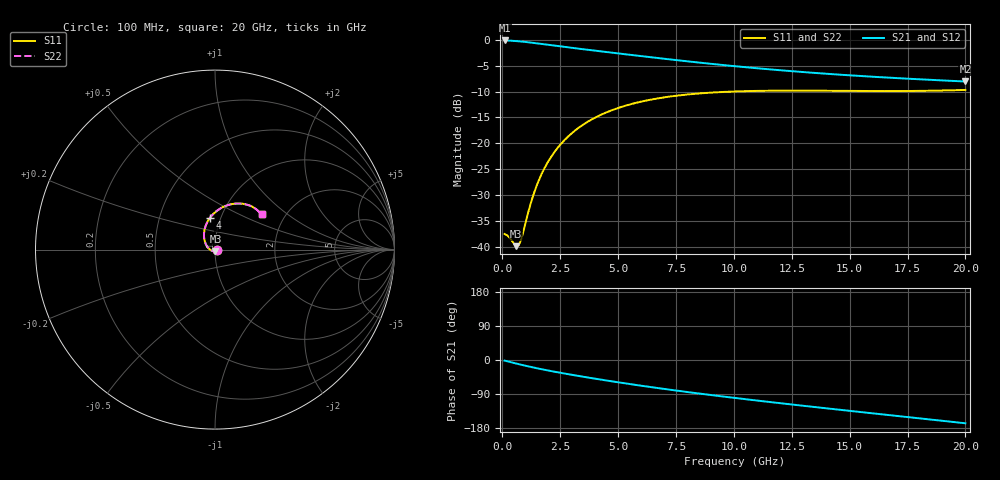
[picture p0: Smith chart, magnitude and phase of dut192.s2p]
! Touchstone file exported from HFSS 2024.1.0
!  File:  C:/UserFiles/LocalFiles/RDL_TSV_Batchsim/temp_RDL_TSV_192_1779441681.aedt
!  Generated:  05:36:03 PM May 22, 2026
!  Design:  RDL_TSV
!  Project:  temp_RDL_TSV_192_1779441681
!  Setup:  Setup1
!  Solution:  Sweep
! Variables:
!  dtsv = 14.02um
!  hbump = 3um
!  htsv = 69.97um
!  ldown = 147.83um
!  lrdl = 420.42um
!  p = 40
!  p1 = 47.94um
!  rhole = 10um
!  subl = 2125.17um
!  t = 450um
!  tdown = 4.05um
!  trdl = 3.53um
!  viad = 10um
!  wdown = 21.66um
!  wrdl = 14.99um
!  xbump = 18um
# GHz S MA R 50.000000
! Terminal data exported
! Port[1] = TM1_1_T1
! Port[2] = TM1_4_T1
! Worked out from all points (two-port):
!   200 points, 100 MHz to 20 GHz, reference 50 ohm
!   highest |S21| = -0.12 dB at 100 MHz (marker M1); lowest = -8.1 dB at 20 GHz (marker M2)
!   |S21| within 3 dB of the highest: start of sweep to 5.946 GHz
!   lowest |S11| = -39.9 dB at 600 MHz (marker M3), VSWR 1.02, Z = 50.2 - j0.986 ohm
!   |S11| at or under -10 dB: start of sweep to 9.937 GHz
!   |S22| runs from -39.9 to -9.7 dB; largest |S21 - S12| = 1.5e-14
!   S11 on the Smith chart (normalised r, x): 100 MHz: 1.03, -0.00; 4 GHz: 0.89, +0.32; 20 GHz: 1.53, +0.68
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0.1  0.01329 -8.0  0.9861 -1.6  0.9861 -1.6  0.01329 -8.0
! Gamma 0 0 0 0
! Port Impedance 50 0 50 0
0.3  0.01237 -27.4  0.9825 -4.8  0.9825 -4.8  0.01237 -27.4
0.6  0.01014 -75.4  0.9727 -9.4  0.9727 -9.4  0.01014 -75.3
0.7  0.01028 -97.8  0.9685 -10.8  0.9685 -10.8  0.01029 -97.7
0.8  0.01148 -120.0  0.9639 -12.3  0.9639 -12.3  0.01148 -120.0
1.2  0.02497 -174.8  0.9426 -17.9  0.9426 -17.9  0.02496 -174.7
1.4  0.03457 171.1  0.9308 -20.5  0.9308 -20.5  0.03455 171.1
1.6  0.04509 160.4  0.9187 -23.1  0.9187 -23.1  0.04507 160.4
1.9  0.06189 147.9  0.9004 -26.8  0.9004 -26.8  0.06186 148.0
2.2  0.07926 137.9  0.8823 -30.3  0.8823 -30.3  0.07922 138.0
2.6  0.1025 127.0  0.8592 -34.8  0.8592 -34.8  0.1024 127.0
3  0.1251 117.8  0.8371 -39.1  0.8371 -39.1  0.125 117.8
3.5  0.1519 108.1  0.8109 -44.2  0.8109 -44.2  0.1518 108.1
4  0.1766 99.9  0.7859 -49.3  0.7859 -49.3  0.1765 99.9
5.3  0.2303 82.8  0.7258 -61.6  0.7258 -61.6  0.2302 82.9
6.8  0.2737 68.5  0.6636 -74.8  0.6636 -74.8  0.2736 68.5
8.4  0.3019 57.2  0.6059 -87.7  0.6059 -87.7  0.3018 57.2
10.1  0.3172 48.6  0.5545 -100.6  0.5545 -100.6  0.3171 48.6
11.7  0.3224 42.9  0.5148 -111.9  0.5148 -111.9  0.3223 42.9
13.4  0.3225 38.9  0.4804 -123.5  0.4804 -123.5  0.3224 38.9
16.7  0.3197 36.1  0.4307 -145.4  0.4307 -145.4  0.3196 36.1
20  0.328 37.2  0.3957 -167.0  0.3957 -167.0  0.3279 37.2
